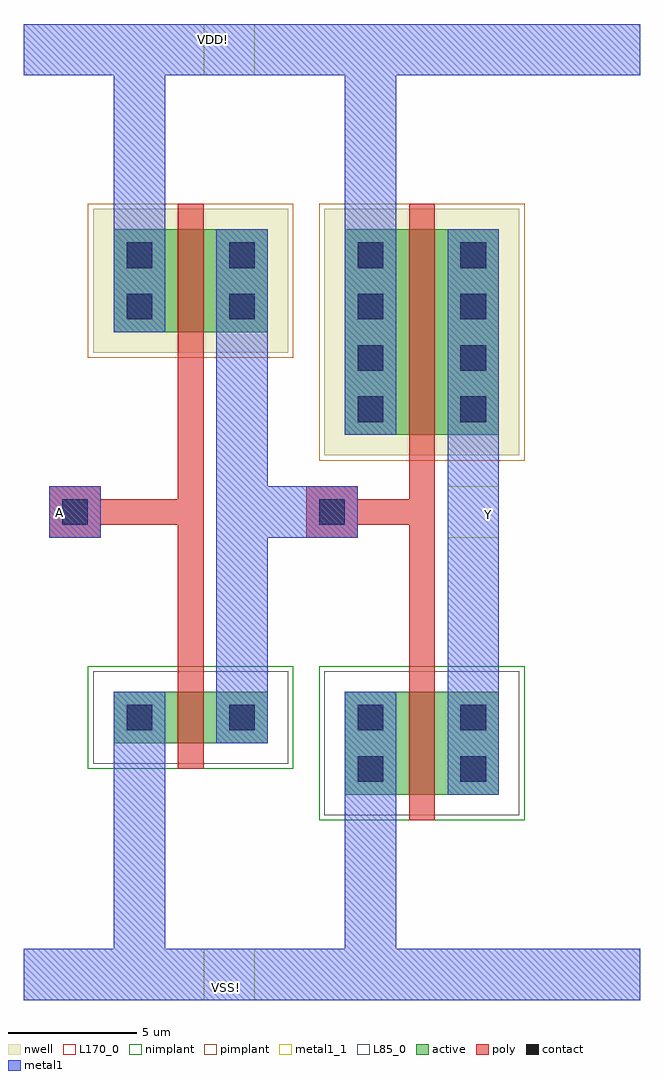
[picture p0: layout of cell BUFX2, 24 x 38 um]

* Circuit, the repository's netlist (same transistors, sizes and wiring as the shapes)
* +++++++++++++++++++++++++++++++++++++++++++++++++++++++++ *
* CDL Netlist:                                              *
*                                                           *
* Cell Name  : BUFX2                                        *
* Netlisted  : Fri Dec 17 08:45:17 2021                     *
* PVS Version: 16.15-s010 Fri Jun 28 22:24:07 PDT 2019      *
* +++++++++++++++++++++++++++++++++++++++++++++++++++++++++ *
*.LDD
*.DEVTMPLT 0 MN(nmos3) _nmos1v _soi_nd(D) poly_conn(G) _soi_nsb(S) _soi_nsb(B)
*.DEVTMPLT 1 MP(pmos3) _pmos1v _soi_pd(D) poly_conn(G) _soi_psb(S) _soi_psb(B)

* +++++++++++++++++++++++++++++++++++++++++++++++++++++++++ *
* Sub cell: nmos3_CDNS_2                                    *
* +++++++++++++++++++++++++++++++++++++++++++++++++++++++++ *
.subckt nmos3_CDNS_2 2 3 4
** N=4 EP=3 FDC=1
M0 3 4 2 2 nmos3 L=1e-06 W=2e-06 AD=5e-12 AS=0 PD=9e-06 PS=0 fw=2e-06 sa=2e-06 sb=2e-06 $X=7000 $Y=2000 $dt=0
.ends nmos3_CDNS_2

* +++++++++++++++++++++++++++++++++++++++++++++++++++++++++ *
* Sub cell: nmos3_CDNS_3                                    *
* +++++++++++++++++++++++++++++++++++++++++++++++++++++++++ *
.subckt nmos3_CDNS_3 2 3 4
** N=4 EP=3 FDC=1
M0 3 4 2 2 nmos3 L=1e-06 W=4e-06 AD=1e-11 AS=0 PD=1.3e-05 PS=0 fw=4e-06 sa=2e-06 sb=2e-06 $X=7000 $Y=2000 $dt=0
.ends nmos3_CDNS_3

* +++++++++++++++++++++++++++++++++++++++++++++++++++++++++ *
* Sub cell: pmos3_CDNS_4                                    *
* +++++++++++++++++++++++++++++++++++++++++++++++++++++++++ *
.subckt pmos3_CDNS_4 2 3 4
** N=5 EP=3 FDC=1
M0 3 4 2 2 pmos3 L=1e-06 W=4e-06 AD=1e-11 AS=0 PD=1.3e-05 PS=0 fw=4e-06 sa=2e-06 sb=2e-06 $X=7000 $Y=2000 $dt=1
.ends pmos3_CDNS_4

* +++++++++++++++++++++++++++++++++++++++++++++++++++++++++ *
* Sub cell: pmos3_CDNS_5                                    *
* +++++++++++++++++++++++++++++++++++++++++++++++++++++++++ *
.subckt pmos3_CDNS_5 2 3 4
** N=5 EP=3 FDC=1
M0 3 4 2 2 pmos3 L=1e-06 W=8e-06 AD=2e-11 AS=0 PD=2.1e-05 PS=0 fw=8e-06 sa=2e-06 sb=2e-06 $X=7000 $Y=2000 $dt=1
.ends pmos3_CDNS_5

* +++++++++++++++++++++++++++++++++++++++++++++++++++++++++ *
* Sub cell: BUFX2                                           *
* +++++++++++++++++++++++++++++++++++++++++++++++++++++++++ *
.subckt BUFX2 A VDD! VSS! Y
** N=6 EP=4 FDC=4
X2 VSS! 2 A nmos3_CDNS_2 $T=21000 16000 1 180 $X=5000 $Y=16000
X3 VSS! Y 2 nmos3_CDNS_3 $T=39000 12000 1 180 $X=23000 $Y=12000
X4 VDD! 2 A pmos3_CDNS_4 $T=21000 60000 0 180 $X=5000 $Y=46000
X5 VDD! Y 2 pmos3_CDNS_5 $T=39000 60000 0 180 $X=23000 $Y=38000
.ends BUFX2

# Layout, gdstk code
from math import pi, radians
import gdstk
lib = gdstk.Library(unit=1e-6, precision=5e-10)
def R(c, l, rs):  # rectangles x0, y0, x1, y1
    for r in rs: c.add(gdstk.rectangle(r[:2], r[2:], *l))
def A(c, l, x, y, w, h, nx, ny, dx, dy):  # array of equal rectangles
    R(c, l, [(x+i*dx, y+j*dy, x+i*dx+w, y+j*dy+h) for i in range(nx) for j in range(ny)])
active = (1, 0)
nwell = (2, 0)
poly = (3, 0)
nimplant = (4, 0)
pimplant = (5, 0)
contact = (6, 0)
metal1 = (7, 0)
metal1_1 = (7, 1)
L85_0 = (85, 0)
L170_0 = (170, 0)

nmos3_cdns_2 = lib.new_cell('nmos3_CDNS_2')
R(nmos3_cdns_2, active, [(1,1,7,3)])
R(nmos3_cdns_2, poly, [(3.5,0,4.5,5), (3.6,3.5,4.4,3.9)])
R(nmos3_cdns_2, nimplant, [(0,0,8,4)])
R(nmos3_cdns_2, contact, [(1.5,1.5,2.5,2.5), (5.5,1.5,6.5,2.5), (5.5,1.5,6.5,2.5)])
R(nmos3_cdns_2, metal1, [(1,1,3,3), (5,1,7,3), (1.3,1.3,2.7,2.7), (5.3,1.3,6.7,2.7)])
R(nmos3_cdns_2, L85_0, [(0.2,0.2,7.8,3.8)])
R(nmos3_cdns_2, L170_0, [(4.5,1,7,3)])

nmos3_cdns_3 = lib.new_cell('nmos3_CDNS_3')
R(nmos3_cdns_3, active, [(1,1,7,5)])
R(nmos3_cdns_3, poly, [(3.5,0,4.5,7), (3.6,5.5,4.4,5.9)])
R(nmos3_cdns_3, nimplant, [(0,0,8,6)])
R(nmos3_cdns_3, contact, [(1.5,1.5,2.5,2.5), (5.5,1.5,6.5,2.5), (5.5,1.5,6.5,2.5), (1.5,3.5,2.5,4.5), (5.5,3.5,6.5,4.5)])
R(nmos3_cdns_3, metal1, [(1,1,3,5), (5,1,7,5), (1.3,1.3,2.7,4.7), (5.3,1.3,6.7,4.7)])
R(nmos3_cdns_3, L85_0, [(0.2,0.2,7.8,5.8)])
R(nmos3_cdns_3, L170_0, [(4.5,1,7,5)])

pmos3_cdns_4 = lib.new_cell('pmos3_CDNS_4')
R(pmos3_cdns_4, active, [(1,1,7,5)])
R(pmos3_cdns_4, nwell, [(0.2,0.2,7.8,5.8)])
R(pmos3_cdns_4, poly, [(3.5,0,4.5,7), (3.6,5.6,4.4,5.9)])
R(pmos3_cdns_4, pimplant, [(0,0,8,6)])
R(pmos3_cdns_4, contact, [(1.5,1.5,2.5,2.5), (5.5,1.5,6.5,2.5), (5.5,1.5,6.5,2.5), (1.5,3.5,2.5,4.5), (5.5,3.5,6.5,4.5)])
R(pmos3_cdns_4, metal1, [(1,1,3,5), (5,1,7,5), (1.3,1.3,2.7,2.7), (5.3,1.3,6.7,2.7)])
R(pmos3_cdns_4, L170_0, [(4.5,1,7,5)])

pmos3_cdns_5 = lib.new_cell('pmos3_CDNS_5')
R(pmos3_cdns_5, active, [(1,1,7,9)])
R(pmos3_cdns_5, nwell, [(0.2,0.2,7.8,9.8)])
R(pmos3_cdns_5, poly, [(3.5,0,4.5,11), (3.6,9.6,4.4,9.9)])
R(pmos3_cdns_5, pimplant, [(0,0,8,10)])
A(pmos3_cdns_5, contact, 1.5, 1.5, 1, 1, 1, 4, 0, 2)
A(pmos3_cdns_5, contact, 5.5, 1.5, 1, 1, 1, 4, 0, 2)
R(pmos3_cdns_5, contact, [(5.5,1.5,6.5,2.5)])
R(pmos3_cdns_5, metal1, [(1,1,3,9), (5,1,7,9), (1.3,1.3,2.7,2.7), (5.3,1.3,6.7,2.7)])
R(pmos3_cdns_5, L170_0, [(4.5,1,7,9)])

m1_po_cdns_1 = lib.new_cell('M1_PO_CDNS_1')
R(m1_po_cdns_1, poly, [(-1,-1,1,1)])
R(m1_po_cdns_1, contact, [(-0.5,-0.5,0.5,0.5)])
R(m1_po_cdns_1, metal1, [(-1,-1,1,1)])

bufx2 = lib.new_cell('BUFX2')
R(bufx2, metal1, [(1,17,3,19)])
R(bufx2, metal1_1, [(7,-1,9,1), (1,17,3,19), (16.5,17,18.5,19), (7,35,9,37)])
bufx2.add(gdstk.FlexPath([(15.5,18),(12.6,18)], 1, ends=(0.5, 0), simple_path=True, layer=3, datatype=0))  # poly
bufx2.add(gdstk.FlexPath([(15.5,18),(15.5,21)], 1, ends=(0.5, 0), simple_path=True, layer=3, datatype=0))  # poly
bufx2.add(gdstk.FlexPath([(15.5,11.3),(15.5,18)], 1, ends=(0, 0.5), simple_path=True, layer=3, datatype=0))  # poly
bufx2.add(gdstk.FlexPath([(6.5,18),(2,18)], 1, ends=(0.5, 0), simple_path=True, layer=3, datatype=0))  # poly
bufx2.add(gdstk.FlexPath([(6.5,18),(6.5,11.1)], 1, ends=(0.5, 0), simple_path=True, layer=3, datatype=0))  # poly
bufx2.add(gdstk.FlexPath([(6.5,24.9),(6.5,18)], 1, ends=(0, 0.5), simple_path=True, layer=3, datatype=0))  # poly
bufx2.add(gdstk.FlexPath([(17.5,21),(17.5,10.7)], 2, ends="flush", simple_path=True, layer=7, datatype=0))  # metal1
bufx2.add(gdstk.FlexPath([(13.5,7),(13.5,0)], 2, ends=(0, 1), simple_path=True, layer=7, datatype=0))  # metal1
bufx2.add(gdstk.FlexPath([(13.5,29),(13.5,36)], 2, ends=(0, 1), simple_path=True, layer=7, datatype=0))  # metal1
bufx2.add(gdstk.FlexPath([(8.5,25),(8.5,18)], 2, ends=(0, 1), simple_path=True, layer=7, datatype=0))  # metal1
bufx2.add(gdstk.FlexPath([(12.6,18),(8.5,18)], 2, ends=(0, 1), simple_path=True, layer=7, datatype=0))  # metal1
bufx2.add(gdstk.FlexPath([(8.5,18),(8.5,10.7)], 2, ends=(1, 0), simple_path=True, layer=7, datatype=0))  # metal1
bufx2.add(gdstk.FlexPath([(4.5,11),(4.5,0)], 2, ends=(0, 1), simple_path=True, layer=7, datatype=0))  # metal1
bufx2.add(gdstk.FlexPath([(4.5,26.8),(4.5,36)], 2, ends=(0, 1), simple_path=True, layer=7, datatype=0))  # metal1
bufx2.add(gdstk.FlexPath([(0,0),(24,0)], 2, ends="flush", simple_path=True, layer=7, datatype=0))  # metal1
bufx2.add(gdstk.FlexPath([(0,36),(24,36)], 2, ends="flush", simple_path=True, layer=7, datatype=0))  # metal1
bufx2.add(gdstk.Reference(nmos3_cdns_2, (10.5,8), rotation=pi, x_reflection=True))
bufx2.add(gdstk.Reference(nmos3_cdns_3, (19.5,6), rotation=pi, x_reflection=True))
bufx2.add(gdstk.Reference(pmos3_cdns_4, (10.5,30), rotation=pi))
bufx2.add(gdstk.Reference(pmos3_cdns_5, (19.5,30), rotation=pi))
bufx2.add(gdstk.Reference(m1_po_cdns_1, (12,18)))
bufx2.add(gdstk.Reference(m1_po_cdns_1, (2,18)))
bufx2.add(gdstk.Label('VSS!', (7.9,-0.5), layer=7, texttype=3))
bufx2.add(gdstk.Label('VDD!', (7.4,36.4), layer=7, texttype=3))
bufx2.add(gdstk.Label('A', (1.4,18), layer=7, texttype=3))
bufx2.add(gdstk.Label('Y', (18.1,17.9), layer=7, texttype=3))

lib.write_gds('BUFX2.gds')
